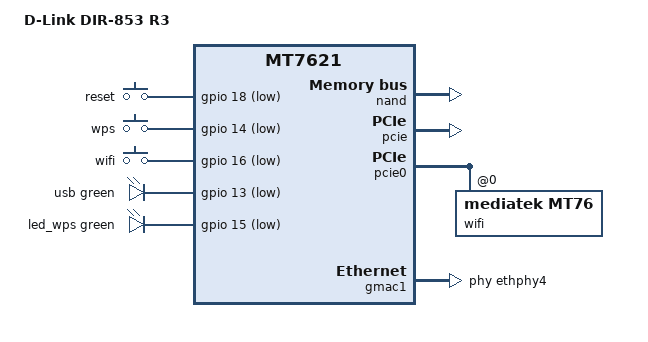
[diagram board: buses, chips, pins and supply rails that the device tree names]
// SPDX-License-Identifier: GPL-2.0-or-later OR MIT

#include "mt7621.dtsi"

#include <dt-bindings/gpio/gpio.h>
#include <dt-bindings/input/input.h>
#include <dt-bindings/leds/common.h>

/ {
	compatible = "dlink,dir-853-r3", "mediatek,mt7621-soc";
	model = "D-Link DIR-853 R3";

	aliases {
		label-mac-device = &gmac0;

		led-boot = &led_wps;
		led-failsafe = &led_wps;
		led-running = &led_wps;
		led-upgrade = &led_wps;
	};

	keys {
		compatible = "gpio-keys";

		reset {
			label = "reset";
			gpios = <&gpio 18 GPIO_ACTIVE_LOW>;
			linux,code = <KEY_RESTART>;
		};

		wps {
			label = "wps";
			gpios = <&gpio 14 GPIO_ACTIVE_LOW>;
			linux,code = <KEY_WPS_BUTTON>;
		};

		wifi {
			label = "wifi";
			gpios = <&gpio 16 GPIO_ACTIVE_LOW>;
			linux,code = <KEY_RFKILL>;
		};
	};

	leds {
		compatible = "gpio-leds";

		usb {
			function = LED_FUNCTION_USB;
			color = <LED_COLOR_ID_GREEN>;
			gpios = <&gpio 13 GPIO_ACTIVE_LOW>;
			trigger-sources = <&ehci_port2>;
			linux,default-trigger = "usbport";
		};

		led_wps: wps {
			function = LED_FUNCTION_WPS;
			color = <LED_COLOR_ID_GREEN>;
			gpios = <&gpio 15 GPIO_ACTIVE_LOW>;
		};
	};
};

&nand {
	status = "okay";

	partitions {
		compatible = "fixed-partitions";
		#address-cells = <1>;
		#size-cells = <1>;

		partition@0 {
			label = "u-boot";
			reg = <0x0 0x80000>;
			read-only;
		};

		partition@80000 {
			label = "config";
			reg = <0x80000 0x80000>;
			read-only;
		};

		partition@100000 {
			label = "factory";
			reg = <0x100000 0x40000>;
			read-only;

			nvmem-layout {
				compatible = "fixed-layout";
				#address-cells = <1>;
				#size-cells = <1>;

				eeprom_factory_0: eeprom@0 {
					reg = <0x0 0x4da8>;
				};

				macaddr_factory_4: macaddr@4 {
					reg = <0x4 0x6>;
				};

				macaddr_factory_e006: macaddr@e006 {
					compatible = "mac-base";
					reg = <0xe006 0x6>;
					#nvmem-cell-cells = <1>;
				};
			};
		};

		partition@140000 {
			label = "kernel";
			reg = <0x140000 0x360000>;
		};

		/* Kept intact for recovery to the vendor firmware. */
		partition@4a0000 {
			label = "stock-rootfs";
			reg = <0x4a0000 0xb60000>;
			read-only;
		};

		partition@1000000 {
			label = "ubi";
			reg = <0x1000000 0x4a20000>;
		};

		/* Contains vendor JFFS2 data and must not be overwritten. */
		partition@5a20000 {
			label = "stock-tail";
			reg = <0x5a20000 0x2560000>;
			read-only;
		};

		/* The final 512 KiB is also unmapped by the vendor firmware. */
	};
};

&pcie {
	status = "okay";
};

&pcie0 {
	wifi@0,0 {
		compatible = "mediatek,mt76";
		reg = <0x0000 0 0 0 0>;
		nvmem-cells = <&eeprom_factory_0>, <&macaddr_factory_4>;
		nvmem-cell-names = "eeprom", "mac-address";
	};
};

&gmac0 {
	nvmem-cells = <&macaddr_factory_e006 1>;
	nvmem-cell-names = "mac-address";
};

&gmac1 {
	status = "okay";
	label = "wan";
	phy-handle = <&ethphy4>;

	nvmem-cells = <&macaddr_factory_e006 0>;
	nvmem-cell-names = "mac-address";
};

&ethphy4 {
	/delete-property/ interrupts;
};

&switch0 {
	ports {
		port@0 {
			status = "okay";
			label = "lan4";
		};

		port@1 {
			status = "okay";
			label = "lan3";
		};

		port@2 {
			status = "okay";
			label = "lan2";
		};

		port@3 {
			status = "okay";
			label = "lan1";
		};
	};
};

&state_default {
	gpio {
		groups = "i2c", "uart2", "uart3", "jtag", "wdt";
		function = "gpio";
	};
};
